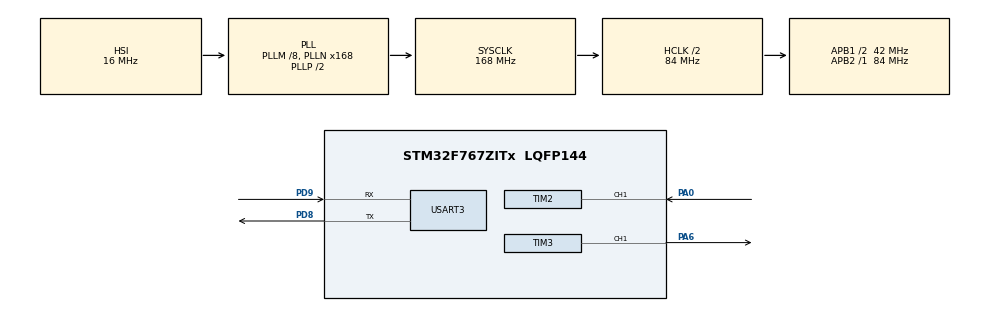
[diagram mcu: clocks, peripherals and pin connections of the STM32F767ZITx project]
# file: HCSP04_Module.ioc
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Mcu.Family=STM32F7
Mcu.Name=STM32F767ZITx
Mcu.Package=LQFP144
NVIC.PriorityGroup=NVIC_PRIORITYGROUP_4
NVIC.TIM2_IRQn=true\:0\:0\:false\:false\:true\:true
NVIC.TIM3_IRQn=true\:0\:0\:false\:false\:true\:true
NVIC.USART3_IRQn=true\:0\:0\:false\:false\:true\:true
PA0/WKUP.GPIO_PuPd=GPIO_PULLDOWN
PA0/WKUP.GPIO_Speed=GPIO_SPEED_FREQ_VERY_HIGH
PA0/WKUP.Signal=S_TIM2_CH1_ETR
PA6.GPIO_ModeDefaultPP=GPIO_MODE_AF_PP
PA6.GPIO_PuPd=GPIO_PULLDOWN
PA6.Signal=S_TIM3_CH1
PD8.Mode=Asynchronous
PD8.Signal=USART3_TX
PD9.Mode=Asynchronous
PD9.Signal=USART3_RX
ProjectManager.HeapSize=0x200
ProjectManager.StackSize=0x400
ProjectManager.TargetToolchain=MDK-ARM V5
RCC.AHBCLKDivider=RCC_SYSCLK_DIV2
RCC.AHBFreq_Value=84000000
RCC.APB1CLKDivider=RCC_HCLK_DIV2
RCC.APB1Freq_Value=42000000
RCC.APB1TimFreq_Value=84000000
RCC.APB2Freq_Value=84000000
RCC.APB2TimFreq_Value=84000000
RCC.CortexFreq_Value=84000000
RCC.HCLKFreq_Value=84000000
RCC.HSE_VALUE=25000000
RCC.HSI_VALUE=16000000
RCC.LSE_VALUE=32768
RCC.PLLM=8
RCC.PLLN=168
RCC.SYSCLKFreq_VALUE=168000000
RCC.SYSCLKSource=RCC_SYSCLKSOURCE_PLLCLK
RCC.USBFreq_Value=168000000
RCC.VCOOutputFreq_Value=336000000
SH.S_TIM2_CH1_ETR.0=TIM2_CH1,Input_Capture1_from_TI1
SH.S_TIM3_CH1.0=TIM3_CH1,PWM Generation1 CH1
TIM2.Channel-Input_Capture1_from_TI1=TIM_CHANNEL_1
TIM2.ICFilter_CH1=15
TIM2.ICPolarity_CH1=TIM_INPUTCHANNELPOLARITY_BOTHEDGE
TIM2.Period=60000
TIM2.Prescaler=1000
TIM3.Channel-PWM\ Generation1\ CH1=TIM_CHANNEL_1
TIM3.OCPolarity_1=TIM_OCPOLARITY_HIGH
TIM3.Period=59999
TIM3.Prescaler=139
TIM3.Pulse-PWM\ Generation1\ CH1=6
TIM3.TIM_MasterOutputTrigger=TIM_TRGO_ENABLE
TIM3.TIM_MasterSlaveMode=TIM_MASTERSLAVEMODE_ENABLE
USART3.VirtualMode-Asynchronous=VM_ASYNC
VP_TIM2_VS_ClockSourceINT.Mode=Internal
VP_TIM3_VS_ClockSourceINT.Mode=Internal
board=HCSP04_Module

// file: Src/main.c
/**
  ******************************************************************************
  * @file           : main.c
  * @brief          : Main program body
  ******************************************************************************
  ** This notice applies to any and all portions of this file
  * that are not between comment pairs USER CODE BEGIN and
  * USER CODE END. Other portions of this file, whether
  * inserted by the user or by software development tools
  * are owned by their respective copyright owners.
  *
  * COPYRIGHT(c) 2019 STMicroelectronics
  *
  * Redistribution and use in source and binary forms, with or without modification,
  * are permitted provided that the following conditions are met:
  *   1. Redistributions of source code must retain the above copyright notice,
  *      this list of conditions and the following disclaimer.
  *   2. Redistributions in binary form must reproduce the above copyright notice,
  *      this list of conditions and the following disclaimer in the documentation
  *      and/or other materials provided with the distribution.
  *   3. Neither the name of STMicroelectronics nor the names of its contributors
  *      may be used to endorse or promote products derived from this software
  *      without specific prior written permission.
  *
  * THIS SOFTWARE IS PROVIDED BY THE COPYRIGHT HOLDERS AND CONTRIBUTORS "AS IS"
  * AND ANY EXPRESS OR IMPLIED WARRANTIES, INCLUDING, BUT NOT LIMITED TO, THE
  * IMPLIED WARRANTIES OF MERCHANTABILITY AND FITNESS FOR A PARTICULAR PURPOSE ARE
  * DISCLAIMED. IN NO EVENT SHALL THE COPYRIGHT HOLDER OR CONTRIBUTORS BE LIABLE
  * FOR ANY DIRECT, INDIRECT, INCIDENTAL, SPECIAL, EXEMPLARY, OR CONSEQUENTIAL
  * DAMAGES (INCLUDING, BUT NOT LIMITED TO, PROCUREMENT OF SUBSTITUTE GOODS OR
  * SERVICES; LOSS OF USE, DATA, OR PROFITS; OR BUSINESS INTERRUPTION) HOWEVER
  * CAUSED AND ON ANY THEORY OF LIABILITY, WHETHER IN CONTRACT, STRICT LIABILITY,
  * OR TORT (INCLUDING NEGLIGENCE OR OTHERWISE) ARISING IN ANY WAY OUT OF THE USE
  * OF THIS SOFTWARE, EVEN IF ADVISED OF THE POSSIBILITY OF SUCH DAMAGE.
  *
  ******************************************************************************
  */
#include "main.h"
#include "stm32f7xx_hal.h"

/* USER CODE BEGIN Includes */
#include "Serial.h"
#include <string.h>
/* USER CODE END Includes */

TIM_HandleTypeDef htim2;
TIM_HandleTypeDef htim3;

UART_HandleTypeDef huart3;

/* USER CODE BEGIN PV */
/* Private variables ---------------------------------------------------------*/
TIM_OC_InitTypeDef sConfigOC;
/* USER CODE END PV */

void SystemClock_Config(void);
static void MX_GPIO_Init(void);
static void MX_TIM3_Init(void);
static void MX_TIM2_Init(void);
static void MX_USART3_UART_Init(void);

void HAL_TIM_MspPostInit(TIM_HandleTypeDef *htim);

/* USER CODE BEGIN PFP */
/* Private function prototypes -----------------------------------------------*/

/* USER CODE END PFP */

/* USER CODE BEGIN 0 */

int input_capture = 0;
int edge_counter = 0;

/* USER CODE END 0 */

int main(void)
{

  /* MCU Configuration----------------------------------------------------------*/

  /* Reset of all peripherals, Initializes the Flash interface and the Systick. */
  HAL_Init();

  /* Configure the system clock */
  SystemClock_Config();

  /* Initialize all configured peripherals */
  MX_GPIO_Init();
  MX_TIM3_Init();
  MX_TIM2_Init();
  MX_USART3_UART_Init();
  /* USER CODE BEGIN 2 */

	char distance_str[32];	// String with distance value mesured
	float distance_cm = 0;		// Distance value converted to centimeters

	serial_init(&huart3);
	HAL_TIM_PWM_Start_IT(&htim3,TIM_CHANNEL_1);	//Starts trigger sequence
	HAL_TIM_IC_Start_IT(&htim2,TIM_CHANNEL_1);	//Starts Output length mesurment

  /* USER CODE END 2 */

  /* Infinite loop */
  /* USER CODE BEGIN WHILE */
  while (1)
  {

		distance_cm = ((float)input_capture* 1000)/4872;		// distance converted to cm; 1000 -> TIM2 prescaler value
																								// 4872 -> 58 (HCSP04 datasheet value) * 84 (MCU clock frequêncy)

		snprintf(distance_str,32,"Distance = %f cm\n\r",distance_cm);

		copy_to_Txbuffer(distance_str);
		HAL_UART_Transmit_IT(&huart3, &Tx_buffer[Tx_start_index & 127], 1);

		HAL_Delay(1000);
  /* USER CODE END WHILE */

  }

}

void SystemClock_Config(void)
{

  RCC_OscInitTypeDef RCC_OscInitStruct;
  RCC_ClkInitTypeDef RCC_ClkInitStruct;
  RCC_PeriphCLKInitTypeDef PeriphClkInitStruct;

    /**Configure the main internal regulator output voltage
    */
  __HAL_RCC_PWR_CLK_ENABLE();

  __HAL_PWR_VOLTAGESCALING_CONFIG(PWR_REGULATOR_VOLTAGE_SCALE3);

    /**Initializes the CPU, AHB and APB busses clocks
    */
  RCC_OscInitStruct.OscillatorType = RCC_OSCILLATORTYPE_HSI;
  RCC_OscInitStruct.HSIState = RCC_HSI_ON;
  RCC_OscInitStruct.HSICalibrationValue = 16;
  RCC_OscInitStruct.PLL.PLLState = RCC_PLL_ON;
  RCC_OscInitStruct.PLL.PLLSource = RCC_PLLSOURCE_HSI;
  RCC_OscInitStruct.PLL.PLLM = 8;
  RCC_OscInitStruct.PLL.PLLN = 168;
  RCC_OscInitStruct.PLL.PLLP = RCC_PLLP_DIV2;
  RCC_OscInitStruct.PLL.PLLQ = 2;
  if (HAL_RCC_OscConfig(&RCC_OscInitStruct) != HAL_OK)
  {
    _Error_Handler(__FILE__, __LINE__);
  }

    /**Initializes the CPU, AHB and APB busses clocks
    */
  RCC_ClkInitStruct.ClockType = RCC_CLOCKTYPE_HCLK|RCC_CLOCKTYPE_SYSCLK
                              |RCC_CLOCKTYPE_PCLK1|RCC_CLOCKTYPE_PCLK2;
  RCC_ClkInitStruct.SYSCLKSource = RCC_SYSCLKSOURCE_PLLCLK;
  RCC_ClkInitStruct.AHBCLKDivider = RCC_SYSCLK_DIV2;
  RCC_ClkInitStruct.APB1CLKDivider = RCC_HCLK_DIV2;
  RCC_ClkInitStruct.APB2CLKDivider = RCC_HCLK_DIV1;

  if (HAL_RCC_ClockConfig(&RCC_ClkInitStruct, FLASH_LATENCY_2) != HAL_OK)
  {
    _Error_Handler(__FILE__, __LINE__);
  }

  PeriphClkInitStruct.PeriphClockSelection = RCC_PERIPHCLK_USART3;
  PeriphClkInitStruct.Usart3ClockSelection = RCC_USART3CLKSOURCE_PCLK1;
  if (HAL_RCCEx_PeriphCLKConfig(&PeriphClkInitStruct) != HAL_OK)
  {
    _Error_Handler(__FILE__, __LINE__);
  }

    /**Configure the Systick interrupt time
    */
  HAL_SYSTICK_Config(HAL_RCC_GetHCLKFreq()/1000);

    /**Configure the Systick
    */
  HAL_SYSTICK_CLKSourceConfig(SYSTICK_CLKSOURCE_HCLK);

  /* SysTick_IRQn interrupt configuration */
  HAL_NVIC_SetPriority(SysTick_IRQn, 0, 0);
}

/* TIM2 init function */
static void MX_TIM2_Init(void)
{

  TIM_ClockConfigTypeDef sClockSourceConfig;
  TIM_MasterConfigTypeDef sMasterConfig;
  TIM_IC_InitTypeDef sConfigIC;

  htim2.Instance = TIM2;
  htim2.Init.Prescaler = 1000;
  htim2.Init.CounterMode = TIM_COUNTERMODE_UP;
  htim2.Init.Period = 60000;
  htim2.Init.ClockDivision = TIM_CLOCKDIVISION_DIV1;
  htim2.Init.AutoReloadPreload = TIM_AUTORELOAD_PRELOAD_DISABLE;
  if (HAL_TIM_Base_Init(&htim2) != HAL_OK)
  {
    _Error_Handler(__FILE__, __LINE__);
  }

  sClockSourceConfig.ClockSource = TIM_CLOCKSOURCE_INTERNAL;
  if (HAL_TIM_ConfigClockSource(&htim2, &sClockSourceConfig) != HAL_OK)
  {
    _Error_Handler(__FILE__, __LINE__);
  }

  if (HAL_TIM_IC_Init(&htim2) != HAL_OK)
  {
    _Error_Handler(__FILE__, __LINE__);
  }

  sMasterConfig.MasterOutputTrigger = TIM_TRGO_RESET;
  sMasterConfig.MasterSlaveMode = TIM_MASTERSLAVEMODE_DISABLE;
  if (HAL_TIMEx_MasterConfigSynchronization(&htim2, &sMasterConfig) != HAL_OK)
  {
    _Error_Handler(__FILE__, __LINE__);
  }

  sConfigIC.ICPolarity = TIM_INPUTCHANNELPOLARITY_BOTHEDGE;
  sConfigIC.ICSelection = TIM_ICSELECTION_DIRECTTI;
  sConfigIC.ICPrescaler = TIM_ICPSC_DIV1;
  sConfigIC.ICFilter = 15;
  if (HAL_TIM_IC_ConfigChannel(&htim2, &sConfigIC, TIM_CHANNEL_1) != HAL_OK)
  {
    _Error_Handler(__FILE__, __LINE__);
  }

}

/* TIM3 init function */
static void MX_TIM3_Init(void)
{

  TIM_ClockConfigTypeDef sClockSourceConfig;
  TIM_MasterConfigTypeDef sMasterConfig;
  TIM_OC_InitTypeDef sConfigOC;

  htim3.Instance = TIM3;
  htim3.Init.Prescaler = 139;
  htim3.Init.CounterMode = TIM_COUNTERMODE_UP;
  htim3.Init.Period = 59999;
  htim3.Init.ClockDivision = TIM_CLOCKDIVISION_DIV1;
  htim3.Init.AutoReloadPreload = TIM_AUTORELOAD_PRELOAD_DISABLE;
  if (HAL_TIM_Base_Init(&htim3) != HAL_OK)
  {
    _Error_Handler(__FILE__, __LINE__);
  }

  sClockSourceConfig.ClockSource = TIM_CLOCKSOURCE_INTERNAL;
  if (HAL_TIM_ConfigClockSource(&htim3, &sClockSourceConfig) != HAL_OK)
  {
    _Error_Handler(__FILE__, __LINE__);
  }

  if (HAL_TIM_PWM_Init(&htim3) != HAL_OK)
  {
    _Error_Handler(__FILE__, __LINE__);
  }

  sMasterConfig.MasterOutputTrigger = TIM_TRGO_ENABLE;
  sMasterConfig.MasterSlaveMode = TIM_MASTERSLAVEMODE_ENABLE;
  if (HAL_TIMEx_MasterConfigSynchronization(&htim3, &sMasterConfig) != HAL_OK)
  {
    _Error_Handler(__FILE__, __LINE__);
  }

  sConfigOC.OCMode = TIM_OCMODE_PWM1;
  sConfigOC.Pulse = 6;
  sConfigOC.OCPolarity = TIM_OCPOLARITY_HIGH;
  sConfigOC.OCFastMode = TIM_OCFAST_DISABLE;
  if (HAL_TIM_PWM_ConfigChannel(&htim3, &sConfigOC, TIM_CHANNEL_1) != HAL_OK)
  {
    _Error_Handler(__FILE__, __LINE__);
  }

  HAL_TIM_MspPostInit(&htim3);

}

/* USART3 init function */
static void MX_USART3_UART_Init(void)
{

  huart3.Instance = USART3;
  huart3.Init.BaudRate = 115200;
  huart3.Init.WordLength = UART_WORDLENGTH_7B;
  huart3.Init.StopBits = UART_STOPBITS_1;
  huart3.Init.Parity = UART_PARITY_NONE;
  huart3.Init.Mode = UART_MODE_TX_RX;
  huart3.Init.HwFlowCtl = UART_HWCONTROL_NONE;
  huart3.Init.OverSampling = UART_OVERSAMPLING_16;
  huart3.Init.OneBitSampling = UART_ONE_BIT_SAMPLE_DISABLE;
  huart3.AdvancedInit.AdvFeatureInit = UART_ADVFEATURE_NO_INIT;
  if (HAL_UART_Init(&huart3) != HAL_OK)
  {
    _Error_Handler(__FILE__, __LINE__);
  }

}

/** Pinout Configuration
*/
static void MX_GPIO_Init(void)
{

  /* GPIO Ports Clock Enable */
  __HAL_RCC_GPIOA_CLK_ENABLE();
  __HAL_RCC_GPIOD_CLK_ENABLE();

}

/* USER CODE BEGIN 4 */
void HAL_TIM_PWM_PulseFinishedCallback	(	TIM_HandleTypeDef * 	htim	)
{

	//HAL_TIM_PWM_Stop_IT(htim,TIM_CHANNEL_1);

}

void HAL_TIM_IC_CaptureCallback	(	TIM_HandleTypeDef * 	htim	)
{
	edge_counter++;

	if(!(edge_counter % 2))		// if the number of transitions is pair (meaning a complete pulse occured)
	{
		input_capture = __HAL_TIM_GetCompare(htim,TIM_CHANNEL_1);		// puts pulse length into input_capture variable
	}

	__HAL_TIM_SetCounter(htim, 0);

}

/* USER CODE END 4 */

void _Error_Handler(char *file, int line)
{
  while(1)
  {
  }
}

/************************ (C) COPYRIGHT STMicroelectronics *****END OF FILE****/
